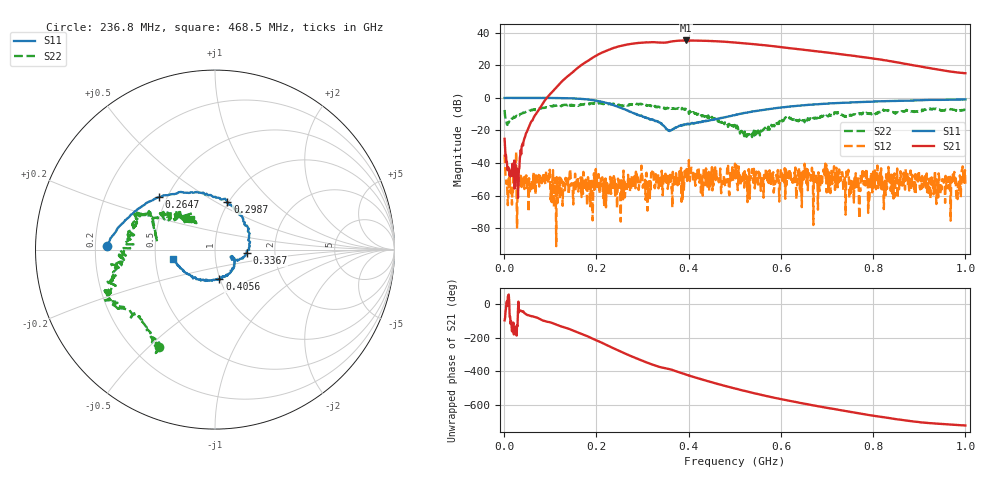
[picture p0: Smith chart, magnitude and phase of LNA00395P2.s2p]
! Created with skrf 1.9.0 (http://scikit-rf.org).
# Hz S RI R 50.0
!freq ReS11 ImS11 ReS21 ImS21 ReS12 ImS12 ReS22 ImS22
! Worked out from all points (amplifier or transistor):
!   1001 points, 1 MHz to 1 GHz, reference 50 ohm
!   highest |S21| = 35.3 dB at 394.6 MHz (marker M1)
!   |S21| within 3 dB of that: 257.7 MHz to 566 MHz (308.3 MHz wide, 74.9 % of centre)
!   unconditionally stable (mu >= 1): 40.43 MHz to 57.56 MHz; 212.9 MHz to 297.6 MHz; 297.8 MHz to end of sweep (the widest 3 of 38)
!   at 166.8 MHz: K = 1.84, MAG = 30.0 dB, |S12| = -50.6 dB
!   at 500.5 MHz: K = 1.20, MAG = 34.5 dB, |S12| = -40.4 dB
!   at 1 GHz: K = 6.46, MAG = 23.5 dB, |S12| = -54.1 dB
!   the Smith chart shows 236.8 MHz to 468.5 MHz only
!   S11 on the Smith chart (normalised r, x): 236.8 MHz: 0.25, +0.01; 264.7 MHz: 0.45, +0.32; 298.7 MHz: 0.98, +0.57; 336.7 MHz: 1.43, -0.05; 405.6 MHz: 1.00, -0.33; 468.5 MHz: 0.62, -0.07
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1000000  0.994 0.00956  -0.00705 -0.0551  -0.0154 -0.00989  0.2686 0.3327
1.08892e8  0.5314 -0.8416  -0.8362 -1.595  -0.00117 -0.00284  0.4211 -0.3755
1.67833e8  -0.2095 -0.908  -10.27 -0.5407  -0.00025 -0.00087  0.0296 -0.6274
2.07793e8  -0.6379 -0.4465  -16.26 16.09  0.000611 -0.00243  -0.2069 -0.649
2.36764e8  -0.602 0.0186  -4.76 33.57  0.000854 -0.00135  -0.3129 -0.5426
2.64736e8  -0.3114 0.293  19.25 38.46  -0.00213 0.000116  -0.4502 -0.3542
2.98702e8  0.0689 0.2676  45.02 20.52  0.00105 0.00398  -0.6027 -0.2111
3.17683e8  0.1701 0.1332  50.8 4.002  0.00152 0.000289  -0.5492 -0.1394
3.34666e8  0.1816 -0.00307  49.45 -10.07  -0.00158 -0.000577  -0.5377 -0.048
3.36664e8  0.1762 -0.0182  49 -11.38  -0.00198 0.00215  -0.5221 -0.0327
3.68632e8  0.1041 -0.0485  45.71 -31.48  0.00148 0.00106  -0.4364 0.1663
3.94606e8  0.0684 -0.1389  30.03 -49.61  0.00477 0.00221  -0.3848 0.1997
4.05595e8  0.0249 -0.1634  21.44 -53.77  0.00502 0.00492  -0.2937 0.1826
4.36564e8  -0.1129 -0.1545  -3.551 -56.48  0.00212 0.000382  -0.1906 0.1941
4.68532e8  -0.2346 -0.0527  -25.52 -47.55  0.00173 0.00659  -0.1349 0.1683
5.005e8  -0.2722 0.1146  -39.13 -31.6  0.00585 -0.00758  -0.1231 0.0681
5.4046e8  -0.2222 0.3144  -43.55 -9.373  0.00199 -0.00145  -0.0694 -0.00473
5.86414e8  -0.0444 0.4777  -36.81 10.68  0.00204 -0.00183  -0.1223 -0.067
6.67333e8  0.3334 0.5272  -14.05 24.08  -0.00414 -0.00589  -0.2601 -0.0548
7.55245e8  0.6344 0.3592  3.965 19.31  0.00051 0.00156  -0.2966 0.0321
8.34166e8  0.783 0.1384  9.854 9.421  -0.00143 -0.00326  -0.3992 0.0426
1e9  0.8138 -0.3869  5.738 -0.0128  -0.00115 0.00161  -0.2401 0.3489
